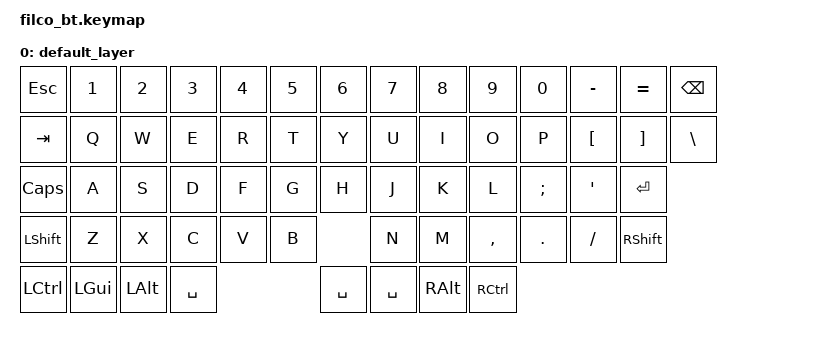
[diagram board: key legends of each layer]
#include <dt-bindings/zmk/behaviors.h>
#include <dt-bindings/zmk/keys.h>

/ {
    keymap {
        compatible = "zmk,keymap";

        default_layer {
            bindings = <
                &kp ESC   &kp N1 &kp N2 &kp N3 &kp N4 &kp N5 &kp N6 &kp N7 &kp N8 &kp N9 &kp N0 &kp MINUS &kp EQUAL &kp BSPC
                &kp TAB   &kp Q  &kp W  &kp E  &kp R  &kp T  &kp Y  &kp U  &kp I  &kp O  &kp P  &kp LBKT  &kp RBKT  &kp BSLH
                &kp CAPS  &kp A  &kp S  &kp D  &kp F  &kp G  &kp H  &kp J  &kp K  &kp L  &kp SEMI &kp SQT   &kp ENTER
                &kp LSHFT &kp Z  &kp X  &kp C  &kp V  &kp B  &kp N  &kp M  &kp COMMA &kp DOT &kp SLASH &kp RSHFT
                &kp LCTRL &kp LGUI &kp LALT &kp SPACE &kp SPACE &kp SPACE &kp RALT &kp RCTRL
            >;
        };
    };
};
